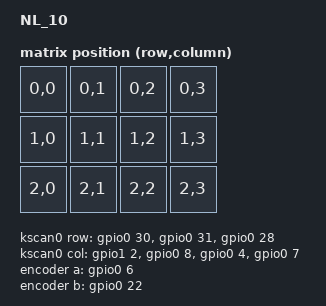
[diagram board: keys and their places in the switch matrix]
/*
 * Copyright (c) 2021 Ninh.D.H
 *
 * SPDX-License-Identifier: MIT
 */

/dts-v1/;
#include <nordic/nrf52840_qiaa.dtsi>
#include <dt-bindings/zmk/matrix_transform.h>

/ {
	model = "NL_10";
	compatible = "nl,10";

	chosen {
		zephyr,code-partition = &code_partition;
		zephyr,sram = &sram0;
		zephyr,flash = &flash0;
		zmk,kscan = &kscan0;
    zmk,matrix_transform = &default_transform;
	};

	kscan0: kscan {
		compatible = "zmk,kscan-gpio-matrix";
		label = "KSCAN";

		diode-direction = "col2row";
		row-gpios
			// = <&gpio1 10 (GPIO_ACTIVE_HIGH | GPIO_PULL_DOWN)>
			// , <&gpio1 9  (GPIO_ACTIVE_HIGH | GPIO_PULL_DOWN)>
			// , <&gpio0 5  (GPIO_ACTIVE_HIGH | GPIO_PULL_DOWN)>
			// ;
			// Handwired
			= <&gpio0 30 (GPIO_ACTIVE_HIGH | GPIO_PULL_DOWN)>
			, <&gpio0 31 (GPIO_ACTIVE_HIGH | GPIO_PULL_DOWN)>
			, <&gpio0 28 (GPIO_ACTIVE_HIGH | GPIO_PULL_DOWN)>
			;
		col-gpios
		// 	= <&gpio0 2  GPIO_ACTIVE_HIGH>
		// 	, <&gpio0 31 GPIO_ACTIVE_HIGH>
		// 	, <&gpio0 29 GPIO_ACTIVE_HIGH>
		// 	, <&gpio0 30 GPIO_ACTIVE_HIGH>
		// 	;
		  // Handwired
		  = <&gpio1 2  GPIO_ACTIVE_HIGH>
		  , <&gpio0 8  GPIO_ACTIVE_HIGH>
		  , <&gpio0 4  GPIO_ACTIVE_HIGH>
		  , <&gpio0 7  GPIO_ACTIVE_HIGH>
		  ;
	};

	default_transform: keymap_transform_0 {
		compatible = "zmk,matrix-transform";
		columns = <4>;
		rows = <3>;
    map = <
		RC(0,0) RC(0,1) RC(0,2) RC(0,3)
		RC(1,0) RC(1,1) RC(1,2) RC(1,3)
		RC(2,0) RC(2,1) RC(2,2) RC(2,3)
    >;
	};

	leds {
		compatible = "gpio-leds";
		blue_led: led_0 {
			gpios = <&gpio0 50 GPIO_ACTIVE_HIGH>;
			label = "Blue LED";
		};
	};

	vbatt {
		compatible = "zmk,battery-voltage-divider";
		label = "BATTERY";
		io-channels = <&adc 1>;
		output-ohms = <2000000>;
		full-ohms = <(2000000 + 820000)>;
	};

	encoder: encoder {
		compatible = "alps,ec11";
		label = "ENCODER";
		// a-gpios = <&gpio0 24 (GPIO_ACTIVE_LOW | GPIO_PULL_UP)>;
		// b-gpios = <&gpio1 11 (GPIO_ACTIVE_LOW | GPIO_PULL_UP)>;
		// Handwired
		a-gpios = <&gpio0 6  (GPIO_ACTIVE_LOW | GPIO_PULL_UP)>;
		b-gpios = <&gpio0 22 (GPIO_ACTIVE_LOW | GPIO_PULL_UP)>;
		resolution = <4>;
	};

	sensors {
		compatible = "zmk,keymap-sensors";
		sensors = <&encoder>;
	};
};

&encoder {
	status = "okay";
};

&adc {
	status = "okay";
};

&gpiote {
	status = "okay";
};

&gpio0 {
	status = "okay";
};

&gpio1 {
	status = "okay";
};

&i2c0 {
	compatible = "nordic,nrf-twi";
	sda-pin = <15>;
	scl-pin = <17>;
};

&uart0 {
	compatible = "nordic,nrf-uarte";
	tx-pin = <6>;
	rx-pin = <8>;
};

&usbd {
	status = "okay";
};


&flash0 {
	/*
	 * For more information, see:
	 * http://docs.zephyrproject.org/latest/devices/dts/flash_partitions.html
	 */
	partitions {
		compatible = "fixed-partitions";
		#address-cells = <1>;
		#size-cells = <1>;

		sd_partition: partition@0 {
			label = "softdevice";
			reg = <0x00000000 0x00026000>;
		};
		code_partition: partition@26000 {
			label = "code_partition";
			reg = <0x00026000 0x000c6000>;
		};

		/*
		 * The flash starting at 0x000ec000 and ending at
		 * 0x000f3fff is reserved for use by the application.
		 */

		/*
		 * Storage partition will be used by FCB/LittleFS/NVS
		 * if enabled.
		 */
		storage_partition: partition@ec000 {
			label = "storage";
			reg = <0x000ec000 0x00008000>;
		};

		boot_partition: partition@f4000 {
			label = "adafruit_boot";
			reg = <0x000f4000 0x0000c000>;
		};
	};
};
